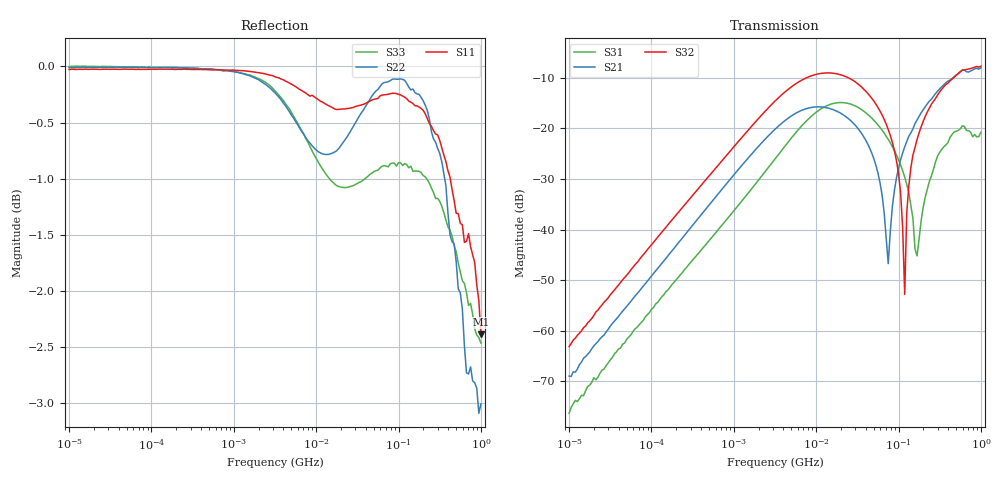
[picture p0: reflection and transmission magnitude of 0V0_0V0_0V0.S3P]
!Keysight Technologies,E5080A,MY55100144,A.11.70.03
!Date: Monday, November 13, 2017 17:23:42
!Correction: S11(Full 3 Port(1,2,3))
!S12(Full 3 Port(1,2,3))
!S13(Full 3 Port(1,2,3))
!S21(Full 3 Port(1,2,3))
!S22(Full 3 Port(1,2,3))
!S23(Full 3 Port(1,2,3))
!S31(Full 3 Port(1,2,3))
!S32(Full 3 Port(1,2,3))
!S33(Full 3 Port(1,2,3))
!S3P File: Measurements: <S11,S12,S13>,
!<S21,S22,S23>,
!<S31,S32,S33>:Log Frequency Sweep
# Hz S  RI  R 50
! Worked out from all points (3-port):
!   201 points, 10 kHz to 1 GHz, reference 50 ohm
!   strongest paths, dB at 10 kHz, 177.8 kHz, 3.162 MHz, 56.23 MHz, 1 GHz:
!     S32: -63.2, -38.1, -14.6, -15.9, -7.7
!     S21: -69.0, -44.2, -20.2, -28.8, -8.0
!     S31: -76.4, -50.9, -26.0, -19.3, -20.8
!   lowest |S11| = -2.4 dB at 1 GHz (marker M1), VSWR 7.33, Z = 366 + j11.2 ohm
!   |S11| at or under -10 dB: nowhere
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10000  0.9968 -0.00166  7.96e-06 0.000332  1.08e-05 0.000179
       -2.99e-06 0.000355  0.9988 -0.00371  1.3e-05 0.000707
       5.84e-06 0.000152  1.72e-05 0.000694  0.9999 -0.00249
3162278  0.8685 -0.4738  0.0574 0.0798  0.0111 0.0488
         0.0572 0.0797  0.6452 -0.7287  0.1007 0.157
         0.0111 0.0488  0.1008 0.1571  0.9351 -0.2762
5.011872e7  -0.9053 -0.3394  0.0233 -0.0446  0.0717 -0.097
            0.0233 -0.0445  -0.9666 -0.1083  0.0873 -0.1649
            0.0716 -0.0971  0.0872 -0.1649  -0.5856 -0.6804
7.498942e7  -0.9655 -0.1104  0.00445 0.00123  0.0234 -0.0744
            0.00443 0.00123  -0.9779 0.113  0.0183 -0.0961
            0.0232 -0.0745  0.0182 -0.096  -0.7961 -0.4246
1.059254e8  -0.9678 0.0801  0.011 0.0476  0.00299 -0.0435
            0.011 0.0477  -0.935 0.3169  -0.00103 -0.0231
            0.00296 -0.0435  -0.00106 -0.0231  -0.8873 -0.182
1.188502e8  -0.9578 0.1463  0.0187 0.063  0.000627 -0.0331
            0.0188 0.063  -0.9054 0.3898  0.000936 0.00209
            0.000576 -0.0331  0.000912 0.00209  -0.8996 -0.1007
1.333521e8  -0.9409 0.2143  0.03 0.0784  -0.000662 -0.0231
            0.0301 0.0784  -0.8637 0.4606  0.00718 0.0259
            -0.000677 -0.0232  0.00727 0.026  -0.9011 -0.0185
1.778279e8  -0.8783 0.3854  0.0713 0.1117  0.00804 0.00156
            0.0714 0.1117  -0.7287 0.6427  0.0436 0.0794
            0.00796 0.00157  0.0436 0.0794  -0.8783 0.1873
5.308844e8  0.00958 0.8599  0.3251 -0.1281  0.0702 -0.0647
            0.325 -0.1283  0.5021 0.6179  0.3344 -0.1008
            0.0702 -0.0647  0.3343 -0.1007  -0.1351 0.8063
1e9  0.7599 0.00644  -0.0938 -0.3868  -0.0561 -0.0725
     -0.0942 -0.3868  0.591 -0.389  -0.0451 -0.4108
     -0.0561 -0.0724  -0.0448 -0.4109  0.6865 0.3097
